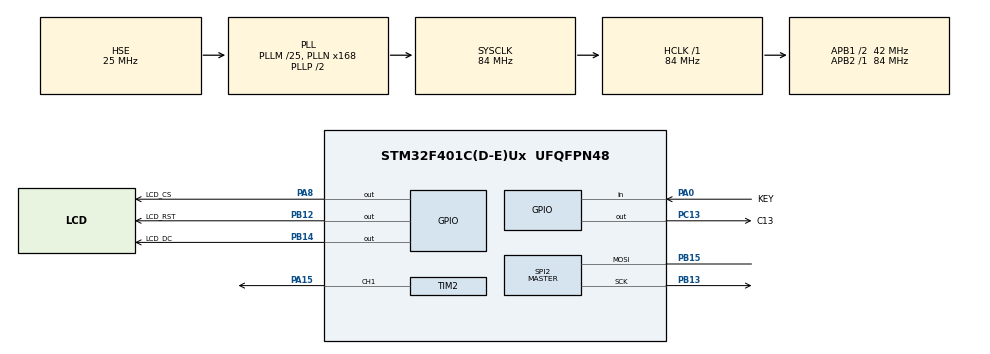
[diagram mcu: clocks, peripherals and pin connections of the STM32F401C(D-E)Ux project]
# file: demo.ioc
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Mcu.Family=STM32F4
Mcu.Name=STM32F401C(D-E)Ux
Mcu.Package=UFQFPN48
NVIC.PriorityGroup=NVIC_PRIORITYGROUP_4
PA0-WKUP.GPIO_Label=KEY
PA0-WKUP.GPIO_PuPd=GPIO_PULLUP
PA0-WKUP.Signal=GPIO_Input
PA13.Mode=Serial_Wire
PA13.Signal=SYS_JTMS-SWDIO
PA14.Mode=Serial_Wire
PA14.Signal=SYS_JTCK-SWCLK
PA15.Signal=S_TIM2_CH1_ETR
PA8.GPIO_Label=LCD_CS
PA8.Signal=GPIO_Output
PB12.GPIO_Label=LCD_RST
PB12.Signal=GPIO_Output
PB13.Mode=Simplex_Bidirectional_Master
PB13.Signal=SPI2_SCK
PB14.GPIO_Label=LCD_DC
PB14.Signal=GPIO_Output
PB15.Mode=Simplex_Bidirectional_Master
PB15.Signal=SPI2_MOSI
PC13-ANTI_TAMP.GPIO_Label=C13
PC13-ANTI_TAMP.Signal=GPIO_Output
PH0\ -\ OSC_IN.Mode=HSE-External-Oscillator
PH0\ -\ OSC_IN.Signal=RCC_OSC_IN
PH1\ -\ OSC_OUT.Mode=HSE-External-Oscillator
PH1\ -\ OSC_OUT.Signal=RCC_OSC_OUT
ProjectManager.HeapSize=0x200
ProjectManager.StackSize=0x400
ProjectManager.TargetToolchain=MDK-ARM V5.27
RCC.48MHZClocksFreq_Value=42000000
RCC.AHBFreq_Value=84000000
RCC.APB1CLKDivider=RCC_HCLK_DIV2
RCC.APB1Freq_Value=42000000
RCC.APB1TimFreq_Value=84000000
RCC.APB2Freq_Value=84000000
RCC.APB2TimFreq_Value=84000000
RCC.CortexFreq_Value=84000000
RCC.HCLKFreq_Value=84000000
RCC.HSE_VALUE=25000000
RCC.HSI_VALUE=16000000
RCC.LSE_VALUE=32768
RCC.PLLM=25
RCC.PLLN=168
RCC.PLLSourceVirtual=RCC_PLLSOURCE_HSE
RCC.SYSCLKFreq_VALUE=84000000
RCC.SYSCLKSource=RCC_SYSCLKSOURCE_PLLCLK
RCC.VCOOutputFreq_Value=168000000
RTC.Hours=12
RTC.Month=RTC_MONTH_SEPTEMBER
RTC.Year=20
SH.S_TIM2_CH1_ETR.0=TIM2_CH1,PWM Generation1 CH1
SPI2.BaudRatePrescaler=SPI_BAUDRATEPRESCALER_4
SPI2.Direction=SPI_DIRECTION_1LINE
SPI2.Mode=SPI_MODE_MASTER
SPI2.VirtualType=VM_MASTER
TIM2.Channel-PWM\ Generation1\ CH1=TIM_CHANNEL_1
TIM2.OCPolarity_1=TIM_OCPOLARITY_LOW
TIM2.Period=1000
TIM2.Prescaler=10-1
VP_RTC_VS_RTC_Activate.Mode=RTC_Enabled
VP_RTC_VS_RTC_Calendar.Mode=RTC_Calendar
board=custom

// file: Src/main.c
/* USER CODE BEGIN Header */
/**
  ******************************************************************************
  * @file           : main.c
  * @brief          : Main program body
  ******************************************************************************
  * @attention
  *
  * <h2><center>&copy; Copyright (c) 2020 STMicroelectronics.
  * All rights reserved.</center></h2>
  *
  * This software component is licensed by ST under BSD 3-Clause license,
  * the "License"; You may not use this file except in compliance with the
  * License. You may obtain a copy of the License at:
  *                        opensource.org/licenses/BSD-3-Clause
  *
  ******************************************************************************
  */
/* USER CODE END Header */
#include "main.h"

/* USER CODE BEGIN Includes */
#include "lcd.h"
/* USER CODE END Includes */

RTC_HandleTypeDef hrtc;

SPI_HandleTypeDef hspi2;

TIM_HandleTypeDef htim2;

void SystemClock_Config(void);
static void MX_GPIO_Init(void);
static void MX_SPI2_Init(void);
static void MX_RTC_Init(void);
static void MX_TIM2_Init(void);

/* USER CODE BEGIN 0 */
static void LED_Blink(uint32_t Hdelay,uint32_t Ldelay)
{
	HAL_GPIO_WritePin(C13_GPIO_Port, C13_Pin, GPIO_PIN_SET);
	HAL_Delay(Hdelay - 1);
	HAL_GPIO_WritePin(C13_GPIO_Port, C13_Pin, GPIO_PIN_RESET);
	HAL_Delay(Ldelay-1);
}
/**
  * @brief  Get the current time and date.
  * @param
  * @retval None
  */
static void RTC_CalendarShow(RTC_DateTypeDef *sdatestructureget,RTC_TimeTypeDef *stimestructureget)
{
  /* 必须同时获取时间和日期 不然会导致下次RTC不能读取 */
  /* Both time and date must be obtained or RTC cannot be read next time */
  /* Get the RTC current Time */
  HAL_RTC_GetTime(&hrtc, stimestructureget, RTC_FORMAT_BIN);
  /* Get the RTC current Date */
  HAL_RTC_GetDate(&hrtc, sdatestructureget, RTC_FORMAT_BIN);
}
 /*
  *power by WeAct Studio
  *For more information please visit: https://github.com/WeActTC/WeAct-ST7735
  *更多信息请访问：https://gitee.com/WeActTC/WeAct-ST7735
  */
/* USER CODE END 0 */

int main(void)
{

  /* MCU Configuration--------------------------------------------------------*/

  /* Reset of all peripherals, Initializes the Flash interface and the Systick. */
  HAL_Init();

  /* Configure the system clock */
  SystemClock_Config();

  /* Initialize all configured peripherals */
  MX_GPIO_Init();
  MX_SPI2_Init();
  MX_RTC_Init();
  MX_TIM2_Init();
  /* USER CODE BEGIN 2 */
	LCD_Test();
	uint8_t text[20];
	RTC_DateTypeDef sdatestructureget;
	RTC_TimeTypeDef stimestructureget;
  /* USER CODE END 2 */

  /* Infinite loop */
  while (1)
  {

    /* USER CODE BEGIN 3 */
		RTC_CalendarShow(&sdatestructureget, &stimestructureget);

		if (stimestructureget.Seconds % 2 == 1)
			sprintf((char *)&text,"Time: %02d:%02d", stimestructureget.Hours, stimestructureget.Minutes);
		else
			sprintf((char *)&text,"Time: %02d %02d", stimestructureget.Hours, stimestructureget.Minutes);
		LCD_ShowString(4, 58, 160, 16, 16, text);

		sprintf((char *)&text,"Tick: %dms",HAL_GetTick());
		LCD_ShowString(4, 74, 160, 16, 16,text);

		LED_Blink(500,3);
  }
  /* USER CODE END 3 */
}

void SystemClock_Config(void)
{
  RCC_OscInitTypeDef RCC_OscInitStruct = {0};
  RCC_ClkInitTypeDef RCC_ClkInitStruct = {0};

  /** Configure the main internal regulator output voltage
  */
  __HAL_RCC_PWR_CLK_ENABLE();
  __HAL_PWR_VOLTAGESCALING_CONFIG(PWR_REGULATOR_VOLTAGE_SCALE2);

  /** Initializes the RCC Oscillators according to the specified parameters
  * in the RCC_OscInitTypeDef structure.
  */
  RCC_OscInitStruct.OscillatorType = RCC_OSCILLATORTYPE_LSI|RCC_OSCILLATORTYPE_HSE;
  RCC_OscInitStruct.HSEState = RCC_HSE_ON;
  RCC_OscInitStruct.LSIState = RCC_LSI_ON;
  RCC_OscInitStruct.PLL.PLLState = RCC_PLL_ON;
  RCC_OscInitStruct.PLL.PLLSource = RCC_PLLSOURCE_HSE;
  RCC_OscInitStruct.PLL.PLLM = 25;
  RCC_OscInitStruct.PLL.PLLN = 168;
  RCC_OscInitStruct.PLL.PLLP = RCC_PLLP_DIV2;
  RCC_OscInitStruct.PLL.PLLQ = 4;
  if (HAL_RCC_OscConfig(&RCC_OscInitStruct) != HAL_OK)
  {
    Error_Handler();
  }

  /** Initializes the CPU, AHB and APB buses clocks
  */
  RCC_ClkInitStruct.ClockType = RCC_CLOCKTYPE_HCLK|RCC_CLOCKTYPE_SYSCLK
                              |RCC_CLOCKTYPE_PCLK1|RCC_CLOCKTYPE_PCLK2;
  RCC_ClkInitStruct.SYSCLKSource = RCC_SYSCLKSOURCE_PLLCLK;
  RCC_ClkInitStruct.AHBCLKDivider = RCC_SYSCLK_DIV1;
  RCC_ClkInitStruct.APB1CLKDivider = RCC_HCLK_DIV2;
  RCC_ClkInitStruct.APB2CLKDivider = RCC_HCLK_DIV1;

  if (HAL_RCC_ClockConfig(&RCC_ClkInitStruct, FLASH_LATENCY_2) != HAL_OK)
  {
    Error_Handler();
  }
}

static void MX_RTC_Init(void)
{

  RTC_TimeTypeDef sTime = {0};
  RTC_DateTypeDef sDate = {0};

  /** Initialize RTC Only
  */
  hrtc.Instance = RTC;
  hrtc.Init.HourFormat = RTC_HOURFORMAT_24;
  hrtc.Init.AsynchPrediv = 127;
  hrtc.Init.SynchPrediv = 255;
  hrtc.Init.OutPut = RTC_OUTPUT_DISABLE;
  hrtc.Init.OutPutPolarity = RTC_OUTPUT_POLARITY_HIGH;
  hrtc.Init.OutPutType = RTC_OUTPUT_TYPE_OPENDRAIN;
  if (HAL_RTC_Init(&hrtc) != HAL_OK)
  {
    Error_Handler();
  }

  /** Initialize RTC and set the Time and Date
  */
  sTime.Hours = 0x12;
  sTime.Minutes = 0x0;
  sTime.Seconds = 0x0;
  sTime.DayLightSaving = RTC_DAYLIGHTSAVING_NONE;
  sTime.StoreOperation = RTC_STOREOPERATION_RESET;
  if (HAL_RTC_SetTime(&hrtc, &sTime, RTC_FORMAT_BCD) != HAL_OK)
  {
    Error_Handler();
  }
  sDate.WeekDay = RTC_WEEKDAY_MONDAY;
  sDate.Month = RTC_MONTH_SEPTEMBER;
  sDate.Date = 0x1;
  sDate.Year = 0x20;

  if (HAL_RTC_SetDate(&hrtc, &sDate, RTC_FORMAT_BCD) != HAL_OK)
  {
    Error_Handler();
  }

}

static void MX_SPI2_Init(void)
{

  /* SPI2 parameter configuration*/
  hspi2.Instance = SPI2;
  hspi2.Init.Mode = SPI_MODE_MASTER;
  hspi2.Init.Direction = SPI_DIRECTION_1LINE;
  hspi2.Init.DataSize = SPI_DATASIZE_8BIT;
  hspi2.Init.CLKPolarity = SPI_POLARITY_LOW;
  hspi2.Init.CLKPhase = SPI_PHASE_1EDGE;
  hspi2.Init.NSS = SPI_NSS_SOFT;
  hspi2.Init.BaudRatePrescaler = SPI_BAUDRATEPRESCALER_4;
  hspi2.Init.FirstBit = SPI_FIRSTBIT_MSB;
  hspi2.Init.TIMode = SPI_TIMODE_DISABLE;
  hspi2.Init.CRCCalculation = SPI_CRCCALCULATION_DISABLE;
  hspi2.Init.CRCPolynomial = 10;
  if (HAL_SPI_Init(&hspi2) != HAL_OK)
  {
    Error_Handler();
  }

}

static void MX_TIM2_Init(void)
{

  TIM_MasterConfigTypeDef sMasterConfig = {0};
  TIM_OC_InitTypeDef sConfigOC = {0};

  htim2.Instance = TIM2;
  htim2.Init.Prescaler = 10-1;
  htim2.Init.CounterMode = TIM_COUNTERMODE_UP;
  htim2.Init.Period = 1000;
  htim2.Init.ClockDivision = TIM_CLOCKDIVISION_DIV1;
  htim2.Init.AutoReloadPreload = TIM_AUTORELOAD_PRELOAD_DISABLE;
  if (HAL_TIM_PWM_Init(&htim2) != HAL_OK)
  {
    Error_Handler();
  }
  sMasterConfig.MasterOutputTrigger = TIM_TRGO_RESET;
  sMasterConfig.MasterSlaveMode = TIM_MASTERSLAVEMODE_DISABLE;
  if (HAL_TIMEx_MasterConfigSynchronization(&htim2, &sMasterConfig) != HAL_OK)
  {
    Error_Handler();
  }
  sConfigOC.OCMode = TIM_OCMODE_PWM1;
  sConfigOC.Pulse = 0;
  sConfigOC.OCPolarity = TIM_OCPOLARITY_LOW;
  sConfigOC.OCFastMode = TIM_OCFAST_DISABLE;
  if (HAL_TIM_PWM_ConfigChannel(&htim2, &sConfigOC, TIM_CHANNEL_1) != HAL_OK)
  {
    Error_Handler();
  }
  HAL_TIM_MspPostInit(&htim2);

}

static void MX_GPIO_Init(void)
{
  GPIO_InitTypeDef GPIO_InitStruct = {0};

  /* GPIO Ports Clock Enable */
  __HAL_RCC_GPIOC_CLK_ENABLE();
  __HAL_RCC_GPIOH_CLK_ENABLE();
  __HAL_RCC_GPIOA_CLK_ENABLE();
  __HAL_RCC_GPIOB_CLK_ENABLE();

  /*Configure GPIO pin Output Level */
  HAL_GPIO_WritePin(C13_GPIO_Port, C13_Pin, GPIO_PIN_RESET);

  /*Configure GPIO pin Output Level */
  HAL_GPIO_WritePin(GPIOB, LCD_RST_Pin|LCD_DC_Pin, GPIO_PIN_RESET);

  /*Configure GPIO pin Output Level */
  HAL_GPIO_WritePin(LCD_CS_GPIO_Port, LCD_CS_Pin, GPIO_PIN_RESET);

  /*Configure GPIO pin : C13_Pin */
  GPIO_InitStruct.Pin = C13_Pin;
  GPIO_InitStruct.Mode = GPIO_MODE_OUTPUT_PP;
  GPIO_InitStruct.Pull = GPIO_NOPULL;
  GPIO_InitStruct.Speed = GPIO_SPEED_FREQ_LOW;
  HAL_GPIO_Init(C13_GPIO_Port, &GPIO_InitStruct);

  /*Configure GPIO pin : KEY_Pin */
  GPIO_InitStruct.Pin = KEY_Pin;
  GPIO_InitStruct.Mode = GPIO_MODE_INPUT;
  GPIO_InitStruct.Pull = GPIO_PULLUP;
  HAL_GPIO_Init(KEY_GPIO_Port, &GPIO_InitStruct);

  /*Configure GPIO pins : LCD_RST_Pin LCD_DC_Pin */
  GPIO_InitStruct.Pin = LCD_RST_Pin|LCD_DC_Pin;
  GPIO_InitStruct.Mode = GPIO_MODE_OUTPUT_PP;
  GPIO_InitStruct.Pull = GPIO_NOPULL;
  GPIO_InitStruct.Speed = GPIO_SPEED_FREQ_LOW;
  HAL_GPIO_Init(GPIOB, &GPIO_InitStruct);

  /*Configure GPIO pin : LCD_CS_Pin */
  GPIO_InitStruct.Pin = LCD_CS_Pin;
  GPIO_InitStruct.Mode = GPIO_MODE_OUTPUT_PP;
  GPIO_InitStruct.Pull = GPIO_NOPULL;
  GPIO_InitStruct.Speed = GPIO_SPEED_FREQ_LOW;
  HAL_GPIO_Init(LCD_CS_GPIO_Port, &GPIO_InitStruct);

}

void Error_Handler(void)
{
}
